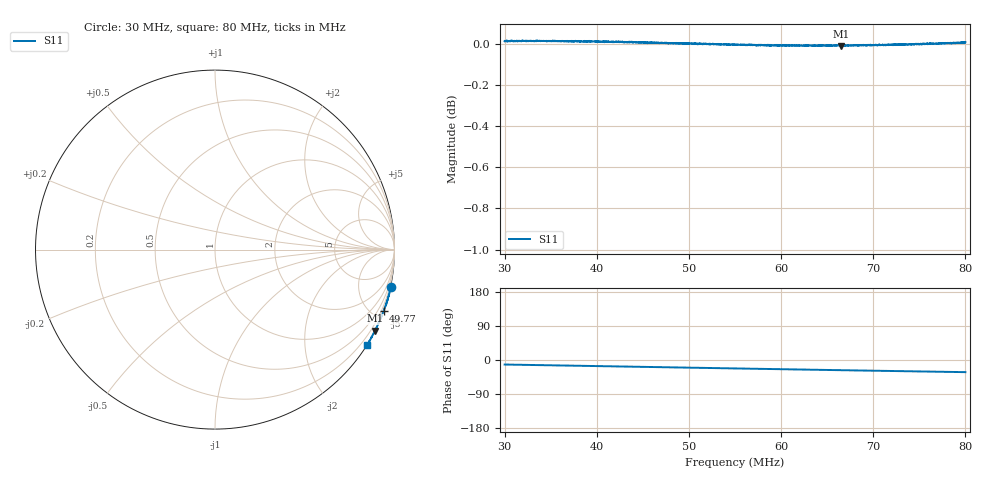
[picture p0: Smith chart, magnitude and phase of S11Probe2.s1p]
#  HZ  S  DB  R  50.00
! Rohde & Schwarz Vector Network Analyzer
! Rohde-Schwarz,ZNB8-4Port,1311601044102961,2.82
! Created: UTC 2/11/2019, 2:27:17 PM
! freq[Hz]  db:S11  ang:S11
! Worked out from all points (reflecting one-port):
!   2001 points, 30 MHz to 80 MHz, reference 50 ohm
!   lowest |S11| = 0.0 dB at 66.53 MHz (marker M1)
!   phase of S11 starts at -12 deg and turns -20 deg over the sweep
!   S11 on the Smith chart (normalised r, x): 30 MHz: -0.07, -9.55; 49.77 MHz: -0.01, -5.64; 80 MHz: -0.01, -3.48
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3e7  0.01 -12.0
3.0225e7  0.01 -12.1
3.36e7  0.01 -13.4
3.625e7  0.01 -14.5
3.78e7  0.01 -15.1
3.8775e7  0.01 -15.5
3.93e7  0.01 -15.8
4.0025e7  0.01 -16.0
4.25e7  0.01 -17.1
4.37e7  0.01 -17.6
4.5975e7  0.01 -18.5
4.735e7  0.00 -19.1
4.875e7  0.00 -19.7
4.9775e7  0.00 -20.1
5.2725e7  -0.00 -21.3
5.5e7  -0.00 -22.2
5.84e7  -0.01 -23.6
6.125e7  -0.01 -24.8
6.4575e7  -0.01 -26.1
6.6525e7  -0.01 -26.9
6.75e7  -0.01 -27.3
6.955e7  -0.01 -28.1
7.285e7  -0.01 -29.3
7.375e7  -0.00 -29.7
7.61e7  0.00 -30.6
7.865e7  0.00 -31.6
7.9775e7  0.01 -32.0
8e7  0.01 -32.1
